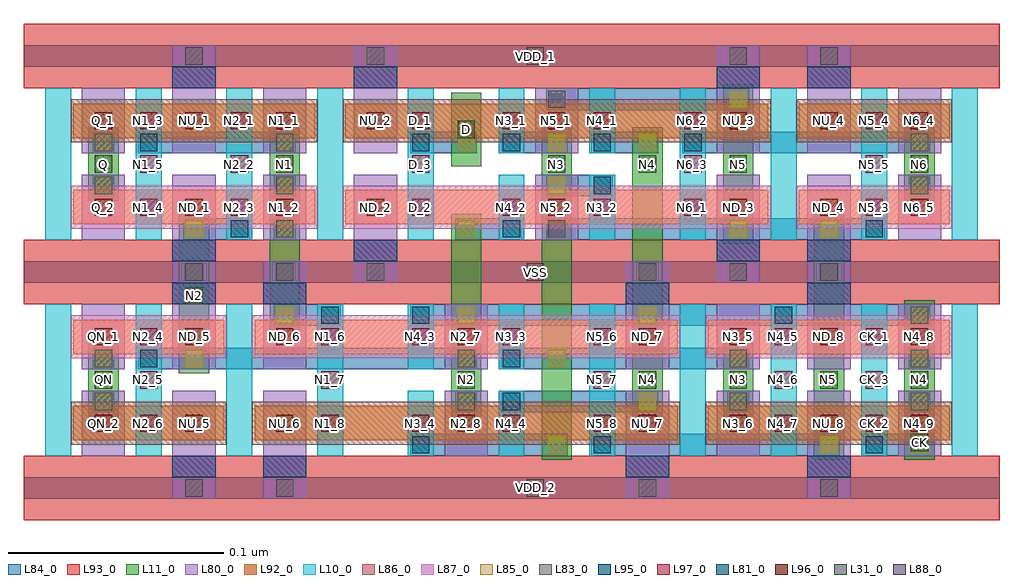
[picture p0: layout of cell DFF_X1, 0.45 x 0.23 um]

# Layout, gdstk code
import gdstk
lib = gdstk.Library(unit=1e-6, precision=1e-09)
def R(c, l, rs):  # rectangles x0, y0, x1, y1
    for r in rs: c.add(gdstk.rectangle(r[:2], r[2:], *l))
def A(c, l, x, y, w, h, nx, ny, dx, dy):  # array of equal rectangles
    R(c, l, [(x+i*dx, y+j*dy, x+i*dx+w, y+j*dy+h) for i in range(nx) for j in range(ny)])
L10_0 = (10, 0)
L11_0 = (11, 0)
L31_0 = (31, 0)
L80_0 = (80, 0)
L81_0 = (81, 0)
L83_0 = (83, 0)
L84_0 = (84, 0)
L85_0 = (85, 0)
L86_0 = (86, 0)
L87_0 = (87, 0)
L88_0 = (88, 0)
L92_0 = (92, 0)
L93_0 = (93, 0)
L95_0 = (95, 0)
L96_0 = (96, 0)
L97_0 = (97, 0)

dff_x1 = lib.new_cell('DFF_X1')
A(dff_x1, L10_0, -0.027, -0.085, 0.012, 0.07, 4, 1, 0.042, 0)
A(dff_x1, L10_0, 0.225, -0.085, 0.012, 0.07, 5, 1, 0.042, 0)
A(dff_x1, L10_0, -0.027, 0.015, 0.012, 0.07, 5, 1, 0.042, 0)
A(dff_x1, L10_0, 0.267, 0.015, 0.012, 0.07, 4, 1, 0.042, 0)
R(dff_x1, L10_0, [(0.141,-0.085,0.153,-0.055), (0.183,-0.085,0.195,-0.055), (0.141,-0.045,0.153,-0.015), (0.183,-0.045,0.195,-0.015), (0.183,0.015,0.195,0.045), (0.225,0.015,0.237,0.045), (0.267,0.015,0.279,0.085), (0.183,0.055,0.195,0.085), (0.225,0.055,0.237,0.085), (0.225,0.055,0.237,0.085)])
R(dff_x1, L11_0, [(0.203,-0.087,0.217,-0.053), (0.203,-0.087,0.217,-0.053), (0.329,-0.087,0.343,-0.053), (0.329,-0.087,0.343,-0.053), (0.371,-0.087,0.385,-0.073), (-0.007,-0.067,0.007,-0.033), (-0.007,-0.067,0.007,-0.033), (0.161,-0.067,0.175,-0.033), (0.161,-0.067,0.175,-0.033), (0.203,-0.067,0.217,-0.033), (0.203,-0.067,0.217,-0.033), (0.245,-0.067,0.259,-0.033), (0.245,-0.067,0.259,-0.033), (0.287,-0.067,0.301,-0.033), (0.287,-0.067,0.301,-0.033), (0.329,-0.067,0.343,-0.033), (0.329,-0.067,0.343,-0.033), (0.371,-0.067,0.385,-0.033), (0.371,-0.067,0.385,-0.033), (0.035,-0.047,0.049,-0.013), (0.035,-0.047,0.049,-0.013), (0.203,-0.047,0.217,-0.013), (0.203,-0.047,0.217,-0.013), (0.245,-0.047,0.259,-0.013), (0.245,-0.047,0.259,-0.013), (0.329,-0.047,0.343,-0.013), (0.329,-0.047,0.343,-0.013), (0.371,-0.047,0.385,-0.013), (0.371,-0.047,0.385,-0.013), (0.035,-0.027,0.049,0.007), (0.035,-0.027,0.049,0.007), (0.077,-0.027,0.091,0.007), (0.077,-0.027,0.091,0.007), (0.161,-0.027,0.175,0.007), (0.161,-0.027,0.175,0.007), (0.203,-0.027,0.217,0.007), (0.203,-0.027,0.217,0.007), (0.245,-0.027,0.259,0.007), (0.245,-0.027,0.259,0.007), (0.329,-0.027,0.343,0.007), (0.329,-0.027,0.343,0.007), (0.035,-0.007,0.049,0.027), (0.035,-0.007,0.049,0.027), (0.077,-0.007,0.091,0.027), (0.077,-0.007,0.091,0.027), (0.161,-0.007,0.175,0.027), (0.161,-0.007,0.175,0.027), (0.203,-0.007,0.217,0.027), (0.203,-0.007,0.217,0.027), (0.245,-0.007,0.259,0.027), (0.245,-0.007,0.259,0.027), (0.329,-0.007,0.343,0.027), (0.329,-0.007,0.343,0.027), (0.077,0.013,0.091,0.047), (0.077,0.013,0.091,0.047), (0.203,0.013,0.217,0.047), (0.203,0.013,0.217,0.047), (0.245,0.013,0.259,0.047), (0.245,0.013,0.259,0.047), (0.287,0.013,0.301,0.047), (0.287,0.013,0.301,0.047), (-0.007,0.033,0.007,0.067), (-0.007,0.033,0.007,0.067), (0.077,0.033,0.091,0.067), (0.077,0.033,0.091,0.067), (0.203,0.033,0.217,0.067), (0.203,0.033,0.217,0.067), (0.245,0.033,0.259,0.067), (0.245,0.033,0.259,0.067), (0.287,0.033,0.301,0.067), (0.287,0.033,0.301,0.067), (0.371,0.033,0.385,0.067), (0.371,0.033,0.385,0.067), (0.161,0.049,0.175,0.083), (0.287,0.053,0.301,0.087), (0.287,0.053,0.301,0.087)])
A(dff_x1, L31_0, 0.248, -0.054, 0.008, 0.008, 4, 1, 0.042, 0)
A(dff_x1, L31_0, 0.206, 0.046, 0.008, 0.008, 3, 1, 0.042, 0)
R(dff_x1, L31_0, [(0.374,-0.083,0.382,-0.075), (-0.004,-0.054,0.004,-0.046), (0.164,-0.054,0.172,-0.046), (0.038,-0.015,0.046,-0.007), (-0.004,0.046,0.004,0.054), (0.08,0.046,0.088,0.054), (0.374,0.046,0.382,0.054), (0.164,0.062,0.172,0.07)])
A(dff_x1, L80_0, -0.01, -0.085, 0.02, 0.03, 3, 2, 0.042, 0.04)
A(dff_x1, L80_0, 0.242, -0.085, 0.02, 0.03, 4, 2, 0.042, 0.04)
A(dff_x1, L80_0, -0.01, 0.015, 0.02, 0.03, 4, 2, 0.042, 0.04)
A(dff_x1, L80_0, 0.284, 0.015, 0.02, 0.03, 3, 2, 0.042, 0.04)
R(dff_x1, L80_0, [(0.032,-0.105,0.052,-0.075), (0.074,-0.105,0.094,-0.075), (0.242,-0.105,0.262,-0.075), (0.326,-0.105,0.346,-0.075), (0.158,-0.085,0.178,-0.055), (0.158,-0.045,0.178,-0.015), (0.032,-0.025,0.052,0.005), (0.074,-0.025,0.094,0.005), (0.242,-0.025,0.262,0.005), (0.326,-0.025,0.346,0.005), (0.032,-0.005,0.052,0.025), (0.116,-0.005,0.136,0.025), (0.284,-0.005,0.304,0.025), (0.326,-0.005,0.346,0.025), (0.2,0.015,0.22,0.045), (0.2,0.055,0.22,0.085), (0.032,0.075,0.052,0.105), (0.116,0.075,0.136,0.105), (0.284,0.075,0.304,0.105), (0.326,0.075,0.346,0.105)])
R(dff_x1, L81_0, [(0.143,-0.084,0.151,-0.076), (0.143,-0.084,0.151,-0.076), (0.227,-0.084,0.235,-0.076), (0.227,-0.084,0.235,-0.076), (0.353,-0.084,0.361,-0.076), (0.185,-0.064,0.193,-0.056), (0.185,-0.064,0.193,-0.056), (0.017,-0.044,0.025,-0.036), (0.017,-0.044,0.025,-0.036), (0.185,-0.044,0.193,-0.036), (0.185,-0.044,0.193,-0.036), (0.101,-0.024,0.109,-0.016), (0.101,-0.024,0.109,-0.016), (0.143,-0.024,0.151,-0.016), (0.143,-0.024,0.151,-0.016), (0.311,-0.024,0.319,-0.016), (0.311,-0.024,0.319,-0.016), (0.059,0.016,0.067,0.024), (0.059,0.016,0.067,0.024), (0.185,0.016,0.193,0.024), (0.185,0.016,0.193,0.024), (0.353,0.016,0.361,0.024), (0.353,0.016,0.361,0.024), (0.353,0.016,0.361,0.024), (0.353,0.016,0.361,0.024), (0.227,0.036,0.235,0.044), (0.227,0.036,0.235,0.044), (0.017,0.056,0.025,0.064), (0.017,0.056,0.025,0.064), (0.143,0.056,0.151,0.064), (0.185,0.056,0.193,0.064), (0.185,0.056,0.193,0.064), (0.227,0.056,0.235,0.064), (0.227,0.056,0.235,0.064), (0.269,0.056,0.277,0.064), (0.269,0.056,0.277,0.064)])
A(dff_x1, L83_0, 0.248, -0.004, 0.008, 0.008, 3, 1, 0.042, 0)
R(dff_x1, L83_0, [(0.038,-0.104,0.046,-0.096), (0.08,-0.104,0.088,-0.096), (0.248,-0.104,0.256,-0.096), (0.332,-0.104,0.34,-0.096), (-0.004,-0.064,0.004,-0.056), (-0.004,-0.064,0.004,-0.056), (0.164,-0.064,0.172,-0.056), (0.164,-0.064,0.172,-0.056), (0.29,-0.064,0.298,-0.056), (0.29,-0.064,0.298,-0.056), (0.374,-0.064,0.382,-0.056), (0.374,-0.064,0.382,-0.056), (-0.004,-0.044,0.004,-0.036), (-0.004,-0.044,0.004,-0.036), (0.164,-0.044,0.172,-0.036), (0.164,-0.044,0.172,-0.036), (0.29,-0.044,0.298,-0.036), (0.29,-0.044,0.298,-0.036), (0.374,-0.044,0.382,-0.036), (0.374,-0.044,0.382,-0.036), (0.374,-0.024,0.382,-0.016), (0.374,-0.024,0.382,-0.016), (0.038,-0.004,0.046,0.004), (0.038,-0.004,0.046,0.004), (0.038,-0.004,0.046,0.004), (0.038,-0.004,0.046,0.004), (0.08,-0.004,0.088,0.004), (0.08,-0.004,0.088,0.004), (0.122,-0.004,0.13,0.004), (0.248,-0.004,0.256,0.004), (0.332,-0.004,0.34,0.004), (0.332,-0.004,0.34,0.004), (0.332,-0.004,0.34,0.004), (0.08,0.016,0.088,0.024), (0.08,0.016,0.088,0.024), (0.206,0.016,0.214,0.024), (0.206,0.016,0.214,0.024), (-0.004,0.036,0.004,0.044), (-0.004,0.036,0.004,0.044), (0.08,0.036,0.088,0.044), (0.08,0.036,0.088,0.044), (0.374,0.036,0.382,0.044), (0.374,0.036,0.382,0.044), (0.374,0.036,0.382,0.044), (0.374,0.036,0.382,0.044), (-0.004,0.056,0.004,0.064), (-0.004,0.056,0.004,0.064), (0.08,0.056,0.088,0.064), (0.08,0.056,0.088,0.064), (0.374,0.056,0.382,0.064), (0.374,0.056,0.382,0.064), (0.374,0.056,0.382,0.064), (0.374,0.056,0.382,0.064), (0.206,0.076,0.214,0.084), (0.206,0.076,0.214,0.084), (0.038,0.096,0.046,0.104), (0.122,0.096,0.13,0.104), (0.29,0.096,0.298,0.104), (0.332,0.096,0.34,0.104)])
A(dff_x1, L84_0, -0.037, -0.105, 0.452, 0.01, 1, 3, 0, 0.1)
A(dff_x1, L84_0, 0.079, -0.045, 0.031, 0.01, 3, 1, 0.021, 0)
R(dff_x1, L84_0, [(0.142,-0.085,0.173,-0.075), (0.142,-0.085,0.173,-0.075), (0.163,-0.085,0.194,-0.075), (0.163,-0.085,0.194,-0.075), (0.184,-0.085,0.215,-0.075), (0.184,-0.085,0.215,-0.075), (0.226,-0.085,0.257,-0.075), (0.226,-0.085,0.257,-0.075), (0.247,-0.085,0.278,-0.075), (0.247,-0.085,0.278,-0.075), (0.268,-0.085,0.299,-0.075), (0.268,-0.085,0.299,-0.075), (0.289,-0.085,0.32,-0.075), (0.289,-0.085,0.32,-0.075), (0.31,-0.085,0.341,-0.075), (0.31,-0.085,0.341,-0.075), (0.351,-0.085,0.385,-0.075), (-0.005,-0.065,0.005,-0.055), (-0.005,-0.065,0.005,-0.055), (0.163,-0.065,0.173,-0.055), (0.163,-0.065,0.173,-0.055), (0.184,-0.065,0.215,-0.055), (0.184,-0.065,0.215,-0.055), (0.205,-0.065,0.236,-0.055), (0.205,-0.065,0.236,-0.055), (0.226,-0.065,0.257,-0.055), (0.226,-0.065,0.257,-0.055), (0.289,-0.065,0.299,-0.055), (0.289,-0.065,0.299,-0.055), (0.373,-0.065,0.383,-0.055), (0.373,-0.065,0.383,-0.055), (-0.005,-0.045,0.005,-0.035), (-0.005,-0.045,0.005,-0.035), (0.016,-0.045,0.047,-0.035), (0.016,-0.045,0.047,-0.035), (0.037,-0.045,0.068,-0.035), (0.037,-0.045,0.068,-0.035), (0.058,-0.045,0.089,-0.035), (0.058,-0.045,0.089,-0.035), (0.058,-0.045,0.131,-0.035), (0.079,-0.045,0.11,-0.035), (0.121,-0.045,0.152,-0.035), (0.142,-0.045,0.173,-0.035), (0.142,-0.045,0.173,-0.035), (0.184,-0.045,0.215,-0.035), (0.184,-0.045,0.215,-0.035), (0.205,-0.045,0.236,-0.035), (0.205,-0.045,0.236,-0.035), (0.226,-0.045,0.257,-0.035), (0.226,-0.045,0.257,-0.035), (0.247,-0.045,0.278,-0.035), (0.247,-0.045,0.278,-0.035), (0.268,-0.045,0.299,-0.035), (0.268,-0.045,0.299,-0.035), (0.373,-0.045,0.383,-0.035), (0.373,-0.045,0.383,-0.035), (0.079,-0.025,0.11,-0.015), (0.079,-0.025,0.11,-0.015), (0.142,-0.025,0.173,-0.015), (0.142,-0.025,0.173,-0.015), (0.163,-0.025,0.194,-0.015), (0.163,-0.025,0.194,-0.015), (0.184,-0.025,0.215,-0.015), (0.184,-0.025,0.215,-0.015), (0.205,-0.025,0.236,-0.015), (0.205,-0.025,0.236,-0.015), (0.226,-0.025,0.257,-0.015), (0.226,-0.025,0.257,-0.015), (0.247,-0.025,0.278,-0.015), (0.247,-0.025,0.278,-0.015), (0.268,-0.025,0.299,-0.015), (0.268,-0.025,0.299,-0.015), (0.289,-0.025,0.32,-0.015), (0.289,-0.025,0.32,-0.015), (0.31,-0.025,0.341,-0.015), (0.31,-0.025,0.341,-0.015), (0.331,-0.025,0.362,-0.015), (0.331,-0.025,0.362,-0.015), (0.352,-0.025,0.383,-0.015), (0.352,-0.025,0.383,-0.015), (0.037,0.015,0.068,0.025), (0.037,0.015,0.068,0.025), (0.079,0.015,0.089,0.025), (0.079,0.015,0.089,0.025), (0.163,0.015,0.194,0.025), (0.163,0.015,0.194,0.025), (0.205,0.015,0.236,0.025), (0.205,0.015,0.236,0.025), (0.226,0.015,0.257,0.025), (0.226,0.015,0.257,0.025), (0.247,0.015,0.278,0.025), (0.247,0.015,0.278,0.025), (0.268,0.015,0.299,0.025), (0.268,0.015,0.299,0.025), (0.289,0.015,0.32,0.025), (0.289,0.015,0.32,0.025), (0.31,0.015,0.341,0.025), (0.31,0.015,0.341,0.025), (0.331,0.015,0.362,0.025), (0.331,0.015,0.362,0.025), (-0.005,0.035,0.005,0.045), (-0.005,0.035,0.005,0.045), (0.079,0.035,0.089,0.045), (0.079,0.035,0.089,0.045), (0.205,0.035,0.236,0.045), (0.205,0.035,0.236,0.045), (0.373,0.035,0.383,0.045), (0.373,0.035,0.383,0.045), (-0.005,0.055,0.005,0.065), (-0.005,0.055,0.005,0.065), (0.016,0.055,0.047,0.065), (0.016,0.055,0.047,0.065), (0.037,0.055,0.068,0.065), (0.037,0.055,0.068,0.065), (0.058,0.055,0.089,0.065), (0.058,0.055,0.089,0.065), (0.142,0.055,0.173,0.065), (0.184,0.055,0.215,0.065), (0.184,0.055,0.215,0.065), (0.226,0.055,0.257,0.065), (0.226,0.055,0.257,0.065), (0.268,0.055,0.299,0.065), (0.268,0.055,0.299,0.065), (0.289,0.055,0.32,0.065), (0.289,0.055,0.32,0.065), (0.31,0.055,0.341,0.065), (0.31,0.055,0.341,0.065), (0.331,0.055,0.362,0.065), (0.331,0.055,0.362,0.065), (0.352,0.055,0.383,0.065), (0.352,0.055,0.383,0.065), (0.205,0.075,0.236,0.085), (0.205,0.075,0.236,0.085), (0.226,0.075,0.257,0.085), (0.226,0.075,0.257,0.085), (0.247,0.075,0.278,0.085), (0.247,0.075,0.278,0.085), (0.268,0.075,0.299,0.085), (0.268,0.075,0.299,0.085)])
R(dff_x1, L85_0, [(0.206,-0.084,0.214,-0.076), (0.206,-0.084,0.214,-0.076), (0.332,-0.084,0.34,-0.076), (0.332,-0.084,0.34,-0.076), (0.374,-0.084,0.382,-0.076), (-0.004,-0.064,0.004,-0.056), (-0.004,-0.064,0.004,-0.056), (0.164,-0.064,0.172,-0.056), (0.164,-0.064,0.172,-0.056), (0.248,-0.064,0.256,-0.056), (0.248,-0.064,0.256,-0.056), (0.29,-0.064,0.298,-0.056), (0.29,-0.064,0.298,-0.056), (0.374,-0.064,0.382,-0.056), (0.374,-0.064,0.382,-0.056), (-0.004,-0.044,0.004,-0.036), (-0.004,-0.044,0.004,-0.036), (0.038,-0.044,0.046,-0.036), (0.038,-0.044,0.046,-0.036), (0.164,-0.044,0.172,-0.036), (0.164,-0.044,0.172,-0.036), (0.206,-0.044,0.214,-0.036), (0.206,-0.044,0.214,-0.036), (0.29,-0.044,0.298,-0.036), (0.29,-0.044,0.298,-0.036), (0.374,-0.044,0.382,-0.036), (0.374,-0.044,0.382,-0.036), (0.08,-0.024,0.088,-0.016), (0.08,-0.024,0.088,-0.016), (0.164,-0.024,0.172,-0.016), (0.164,-0.024,0.172,-0.016), (0.248,-0.024,0.256,-0.016), (0.248,-0.024,0.256,-0.016), (0.374,-0.024,0.382,-0.016), (0.374,-0.024,0.382,-0.016), (0.038,0.016,0.046,0.024), (0.038,0.016,0.046,0.024), (0.08,0.016,0.088,0.024), (0.08,0.016,0.088,0.024), (0.164,0.016,0.172,0.024), (0.164,0.016,0.172,0.024), (0.29,0.016,0.298,0.024), (0.29,0.016,0.298,0.024), (0.332,0.016,0.34,0.024), (0.332,0.016,0.34,0.024), (-0.004,0.036,0.004,0.044), (-0.004,0.036,0.004,0.044), (0.08,0.036,0.088,0.044), (0.08,0.036,0.088,0.044), (0.206,0.036,0.214,0.044), (0.206,0.036,0.214,0.044), (0.374,0.036,0.382,0.044), (0.374,0.036,0.382,0.044), (-0.004,0.056,0.004,0.064), (-0.004,0.056,0.004,0.064), (0.08,0.056,0.088,0.064), (0.08,0.056,0.088,0.064), (0.164,0.056,0.172,0.064), (0.206,0.056,0.214,0.064), (0.206,0.056,0.214,0.064), (0.248,0.056,0.256,0.064), (0.248,0.056,0.256,0.064), (0.374,0.056,0.382,0.064), (0.374,0.056,0.382,0.064), (0.29,0.076,0.298,0.084), (0.29,0.076,0.298,0.084)])
R(dff_x1, L86_0, [(-0.015,-0.08,0.057,-0.06), (0.069,-0.08,0.267,-0.06), (0.279,-0.08,0.393,-0.06), (-0.015,0.06,0.099,0.08), (0.111,0.06,0.309,0.08), (0.321,0.06,0.393,0.08)])
R(dff_x1, L87_0, [(-0.015,-0.04,0.057,-0.02), (0.069,-0.04,0.267,-0.02), (0.279,-0.04,0.393,-0.02), (-0.015,0.02,0.099,0.04), (0.111,0.02,0.309,0.04), (0.321,0.02,0.393,0.04)])
A(dff_x1, L88_0, 0.196, -0.104, 0.008, 0.008, 1, 3, 0, 0.1)
R(dff_x1, L92_0, [(-0.014,-0.078,0.056,-0.062), (0.07,-0.078,0.266,-0.062), (0.28,-0.078,0.392,-0.062), (-0.014,-0.038,0.056,-0.022), (0.07,-0.038,0.266,-0.022), (0.28,-0.038,0.392,-0.022), (-0.014,0.022,0.098,0.038), (0.112,0.022,0.308,0.038), (0.322,0.022,0.392,0.038), (-0.014,0.062,0.098,0.078), (0.112,0.062,0.308,0.078), (0.322,0.062,0.392,0.078)])
A(dff_x1, L93_0, -0.037, -0.115, 0.452, 0.03, 1, 3, 0, 0.1)
R(dff_x1, L95_0, [(0.032,-0.095,0.052,-0.085), (0.074,-0.095,0.094,-0.085), (0.242,-0.095,0.262,-0.085), (0.326,-0.095,0.346,-0.085), (0.032,-0.015,0.052,-0.005), (0.074,-0.015,0.094,-0.005), (0.242,-0.015,0.262,-0.005), (0.326,-0.015,0.346,-0.005), (0.032,0.005,0.052,0.015), (0.116,0.005,0.136,0.015), (0.284,0.005,0.304,0.015), (0.326,0.005,0.346,0.015), (0.032,0.085,0.052,0.095), (0.116,0.085,0.136,0.095), (0.284,0.085,0.304,0.095), (0.326,0.085,0.346,0.095)])
A(dff_x1, L96_0, -0.004, -0.074, 0.008, 0.008, 3, 2, 0.042, 0.04)
A(dff_x1, L96_0, 0.248, -0.074, 0.008, 0.008, 4, 2, 0.042, 0.04)
A(dff_x1, L96_0, -0.004, 0.026, 0.008, 0.008, 4, 2, 0.042, 0.04)
A(dff_x1, L96_0, 0.29, 0.026, 0.008, 0.008, 3, 2, 0.042, 0.04)
R(dff_x1, L96_0, [(0.164,-0.074,0.172,-0.066), (0.164,-0.034,0.172,-0.026), (0.206,0.026,0.214,0.034), (0.206,0.066,0.214,0.074)])
A(dff_x1, L97_0, 0.017, -0.074, 0.008, 0.008, 1, 3, 0, 0.02)
A(dff_x1, L97_0, 0.101, -0.074, 0.008, 0.008, 4, 2, 0.042, 0.04)
A(dff_x1, L97_0, 0.311, -0.074, 0.008, 0.008, 1, 3, 0, 0.02)
A(dff_x1, L97_0, 0.353, -0.074, 0.008, 0.008, 1, 3, 0, 0.02)
A(dff_x1, L97_0, 0.017, 0.026, 0.008, 0.008, 1, 3, 0, 0.02)
A(dff_x1, L97_0, 0.059, 0.026, 0.008, 0.008, 1, 3, 0, 0.02)
A(dff_x1, L97_0, 0.143, 0.026, 0.008, 0.008, 4, 2, 0.042, 0.04)
A(dff_x1, L97_0, 0.353, 0.026, 0.008, 0.008, 1, 3, 0, 0.02)
R(dff_x1, L97_0, [(0.101,-0.054,0.109,-0.046), (0.227,-0.054,0.235,-0.046), (0.143,0.046,0.151,0.054), (0.269,0.046,0.277,0.054)])
dff_x1.add(gdstk.Label('N1_5', (0.021,0.05), layer=97, texttype=0))
dff_x1.add(gdstk.Label('N1_4', (0.021,0.03), layer=97, texttype=0))
dff_x1.add(gdstk.Label('N1_3', (0.021,0.07), layer=97, texttype=0))
dff_x1.add(gdstk.Label('N2_1', (0.063,0.07), layer=97, texttype=0))
dff_x1.add(gdstk.Label('N2_2', (0.063,0.05), layer=97, texttype=0))
dff_x1.add(gdstk.Label('N2_3', (0.063,0.03), layer=97, texttype=0))
dff_x1.add(gdstk.Label('D_3', (0.147,0.05), layer=97, texttype=0))
dff_x1.add(gdstk.Label('D_1', (0.147,0.07), layer=97, texttype=0))
dff_x1.add(gdstk.Label('D_2', (0.147,0.03), layer=97, texttype=0))
dff_x1.add(gdstk.Label('N4_2', (0.189,0.03), layer=97, texttype=0))
dff_x1.add(gdstk.Label('N3_1', (0.189,0.07), layer=97, texttype=0))
dff_x1.add(gdstk.Label('N4_1', (0.231,0.07), layer=97, texttype=0))
dff_x1.add(gdstk.Label('N3_2', (0.231,0.03), layer=97, texttype=0))
dff_x1.add(gdstk.Label('N6_2', (0.273,0.07), layer=97, texttype=0))
dff_x1.add(gdstk.Label('N6_3', (0.273,0.05), layer=97, texttype=0))
dff_x1.add(gdstk.Label('N6_1', (0.273,0.03), layer=97, texttype=0))
dff_x1.add(gdstk.Label('N5_5', (0.357,0.05), layer=97, texttype=0))
dff_x1.add(gdstk.Label('N5_4', (0.357,0.07), layer=97, texttype=0))
dff_x1.add(gdstk.Label('N5_3', (0.357,0.03), layer=97, texttype=0))
dff_x1.add(gdstk.Label('N2_5', (0.021,-0.05), layer=97, texttype=0))
dff_x1.add(gdstk.Label('N2_4', (0.021,-0.03), layer=97, texttype=0))
dff_x1.add(gdstk.Label('N2_6', (0.021,-0.07), layer=97, texttype=0))
dff_x1.add(gdstk.Label('N1_6', (0.105,-0.03), layer=97, texttype=0))
dff_x1.add(gdstk.Label('N1_7', (0.105,-0.05), layer=97, texttype=0))
dff_x1.add(gdstk.Label('N1_8', (0.105,-0.07), layer=97, texttype=0))
dff_x1.add(gdstk.Label('N3_4', (0.147,-0.07), layer=97, texttype=0))
dff_x1.add(gdstk.Label('N4_4', (0.189,-0.07), layer=97, texttype=0))
dff_x1.add(gdstk.Label('N4_3', (0.147,-0.03), layer=97, texttype=0))
dff_x1.add(gdstk.Label('N3_3', (0.189,-0.03), layer=97, texttype=0))
dff_x1.add(gdstk.Label('N5_7', (0.231,-0.05), layer=97, texttype=0))
dff_x1.add(gdstk.Label('N5_6', (0.231,-0.03), layer=97, texttype=0))
dff_x1.add(gdstk.Label('N4_6', (0.315,-0.05), layer=97, texttype=0))
dff_x1.add(gdstk.Label('N4_5', (0.315,-0.03), layer=97, texttype=0))
dff_x1.add(gdstk.Label('CK_3', (0.357,-0.05), layer=97, texttype=0))
dff_x1.add(gdstk.Label('CK_1', (0.357,-0.03), layer=97, texttype=0))
dff_x1.add(gdstk.Label('CK_2', (0.357,-0.07), layer=97, texttype=0))
dff_x1.add(gdstk.Label('N4_7', (0.315,-0.07), layer=97, texttype=0))
dff_x1.add(gdstk.Label('N5_8', (0.231,-0.07), layer=97, texttype=0))
dff_x1.add(gdstk.Label('Q_2', (0,0.03), layer=96, texttype=0))
dff_x1.add(gdstk.Label('ND_1', (0.042,0.03), layer=96, texttype=0))
dff_x1.add(gdstk.Label('NU_1', (0.042,0.07), layer=96, texttype=0))
dff_x1.add(gdstk.Label('N1_1', (0.084,0.07), layer=96, texttype=0))
dff_x1.add(gdstk.Label('N1_2', (0.084,0.03), layer=96, texttype=0))
dff_x1.add(gdstk.Label('NU_2', (0.126,0.07), layer=96, texttype=0))
dff_x1.add(gdstk.Label('ND_2', (0.126,0.03), layer=96, texttype=0))
dff_x1.add(gdstk.Label('N5_1', (0.21,0.07), layer=96, texttype=0))
dff_x1.add(gdstk.Label('N5_2', (0.21,0.03), layer=96, texttype=0))
dff_x1.add(gdstk.Label('ND_3', (0.294,0.03), layer=96, texttype=0))
dff_x1.add(gdstk.Label('NU_3', (0.294,0.07), layer=96, texttype=0))
dff_x1.add(gdstk.Label('NU_4', (0.336,0.07), layer=96, texttype=0))
dff_x1.add(gdstk.Label('ND_4', (0.336,0.03), layer=96, texttype=0))
dff_x1.add(gdstk.Label('N6_4', (0.378,0.07), layer=96, texttype=0))
dff_x1.add(gdstk.Label('N6_5', (0.378,0.03), layer=96, texttype=0))
dff_x1.add(gdstk.Label('QN_1', (0,-0.03), layer=96, texttype=0))
dff_x1.add(gdstk.Label('QN_2', (0,-0.07), layer=96, texttype=0))
dff_x1.add(gdstk.Label('NU_5', (0.042,-0.07), layer=96, texttype=0))
dff_x1.add(gdstk.Label('ND_5', (0.042,-0.03), layer=96, texttype=0))
dff_x1.add(gdstk.Label('NU_6', (0.084,-0.07), layer=96, texttype=0))
dff_x1.add(gdstk.Label('ND_6', (0.084,-0.03), layer=96, texttype=0))
dff_x1.add(gdstk.Label('N2_8', (0.168,-0.07), layer=96, texttype=0))
dff_x1.add(gdstk.Label('N2_7', (0.168,-0.03), layer=96, texttype=0))
dff_x1.add(gdstk.Label('ND_7', (0.252,-0.03), layer=96, texttype=0))
dff_x1.add(gdstk.Label('N3_5', (0.294,-0.03), layer=96, texttype=0))
dff_x1.add(gdstk.Label('ND_8', (0.336,-0.03), layer=96, texttype=0))
dff_x1.add(gdstk.Label('N4_8', (0.378,-0.03), layer=96, texttype=0))
dff_x1.add(gdstk.Label('N4_9', (0.378,-0.07), layer=96, texttype=0))
dff_x1.add(gdstk.Label('NU_8', (0.336,-0.07), layer=96, texttype=0))
dff_x1.add(gdstk.Label('N3_6', (0.294,-0.07), layer=96, texttype=0))
dff_x1.add(gdstk.Label('NU_7', (0.252,-0.07), layer=96, texttype=0))
dff_x1.add(gdstk.Label('Q_1', (0,0.07), layer=96, texttype=0))
dff_x1.add(gdstk.Label('VDD_1', (0.2,0.1), layer=88, texttype=0))
dff_x1.add(gdstk.Label('VDD_2', (0.2,-0.1), layer=88, texttype=0))
dff_x1.add(gdstk.Label('VSS', (0.2,0), layer=88, texttype=0))
dff_x1.add(gdstk.Label('Q', (0,0.05), layer=31, texttype=0))
dff_x1.add(gdstk.Label('N1', (0.084,0.05), layer=31, texttype=0))
dff_x1.add(gdstk.Label('N3', (0.21,0.05), layer=31, texttype=0))
dff_x1.add(gdstk.Label('N4', (0.252,0.05), layer=31, texttype=0))
dff_x1.add(gdstk.Label('N5', (0.294,0.05), layer=31, texttype=0))
dff_x1.add(gdstk.Label('N6', (0.378,0.05), layer=31, texttype=0))
dff_x1.add(gdstk.Label('QN', (0,-0.05), layer=31, texttype=0))
dff_x1.add(gdstk.Label('N2', (0.168,-0.05), layer=31, texttype=0))
dff_x1.add(gdstk.Label('N4', (0.252,-0.05), layer=31, texttype=0))
dff_x1.add(gdstk.Label('N3', (0.294,-0.05), layer=31, texttype=0))
dff_x1.add(gdstk.Label('N5', (0.336,-0.05), layer=31, texttype=0))
dff_x1.add(gdstk.Label('N4', (0.378,-0.05), layer=31, texttype=0))
dff_x1.add(gdstk.Label('N2', (0.042,-0.011), layer=31, texttype=0))
dff_x1.add(gdstk.Label('D', (0.168,0.066), layer=31, texttype=0))
dff_x1.add(gdstk.Label('CK', (0.378,-0.079), layer=31, texttype=0))

lib.write_gds('DFF_X1.gds')
